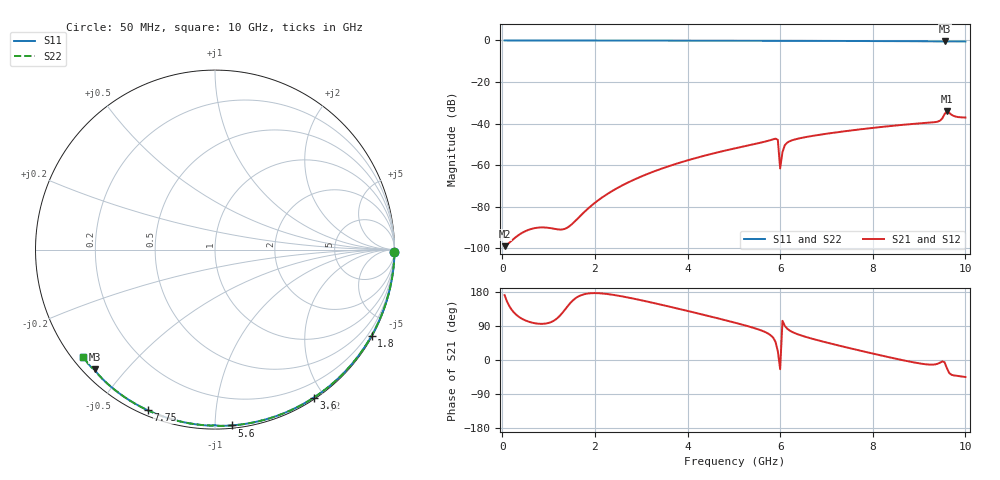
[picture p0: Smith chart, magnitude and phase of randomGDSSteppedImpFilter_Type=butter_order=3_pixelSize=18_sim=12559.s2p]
! freq	dB(S11)	phase(S11)	dB(S12)	phase(S12)
!  dB(S21)	phase(S21)	dB(S22)	phase(S22)
!S-par simulation data
#  GHz  S  DB  R 50
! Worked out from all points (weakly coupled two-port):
!   200 points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, 50 MHz to 10 GHz, reference 50 ohm
!   highest |S21| = -34.09 dB at 9.6 GHz (marker M1); lowest = -99.1 dB at 50 MHz (marker M2)
!   lowest |S11| = -0.5 dB at 9.55 GHz (marker M3), VSWR 35.27, Z = 1.66 - j20.6 ohm
!   |S11| at or under -10 dB: nowhere
!   |S22| runs from -0.5 to 0.0 dB; largest |S21 - S12| = 0
!   S11 on the Smith chart (normalised r, x): 50 MHz: open; 1.8 GHz: 0.03, -3.89; 3.6 GHz: 0.02, -1.87; 5.6 GHz: 0.02, -1.10; 7.75 GHz: 0.02, -0.67; 10 GHz: 0.03, -0.36
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0.05  -0.00 -0.8  -99.06 171.2  -99.06 171.2  -0.00 -0.8
1.75  -0.04 -28.0  -83.04 172.9  -83.04 172.9  -0.04 -28.0
1.8  -0.04 -28.8  -81.98 174.4  -81.98 174.4  -0.04 -28.8
1.9  -0.04 -30.4  -80.00 176.1  -80.00 176.1  -0.04 -30.4
2.65  -0.05 -42.0  -69.10 166.4  -69.10 166.4  -0.05 -42.0
3.4  -0.07 -53.3  -62.04 146.8  -62.04 146.8  -0.07 -53.3
3.6  -0.08 -56.3  -60.51 141.1  -60.51 141.1  -0.08 -56.3
5.05  -0.12 -77.1  -51.82 97.6  -51.82 97.6  -0.12 -77.1
5.6  -0.14 -84.6  -49.11 77.7  -49.11 77.7  -0.14 -84.6
5.95  -0.17 -89.5  -47.86 22.9  -47.86 22.9  -0.17 -89.5
6  -0.19 -90.0  -61.63 -24.4  -61.63 -24.4  -0.19 -90.0
6.05  -0.18 -90.6  -53.82 103.4  -53.82 103.4  -0.18 -90.6
6.1  -0.17 -91.3  -50.45 90.1  -50.45 90.1  -0.17 -91.3
6.15  -0.17 -91.9  -49.25 83.0  -49.25 83.0  -0.17 -91.9
6.7  -0.19 -99.2  -45.95 55.8  -45.95 55.8  -0.19 -99.2
7.75  -0.26 -112.7  -42.75 24.0  -42.75 24.0  -0.26 -112.7
8.35  -0.31 -120.3  -41.27 7.3  -41.27 7.3  -0.31 -120.3
9.4  -0.43 -133.4  -39.10 -10.0  -39.10 -10.0  -0.43 -133.4
9.55  -0.49 -135.1  -35.48 -5.8  -35.48 -5.8  -0.49 -135.1
9.6  -0.48 -135.4  -34.09 -21.4  -34.09 -21.4  -0.48 -135.4
9.75  -0.44 -137.5  -36.37 -40.6  -36.37 -40.6  -0.44 -137.5
10  -0.47 -140.7  -37.11 -44.9  -37.11 -44.9  -0.47 -140.7
